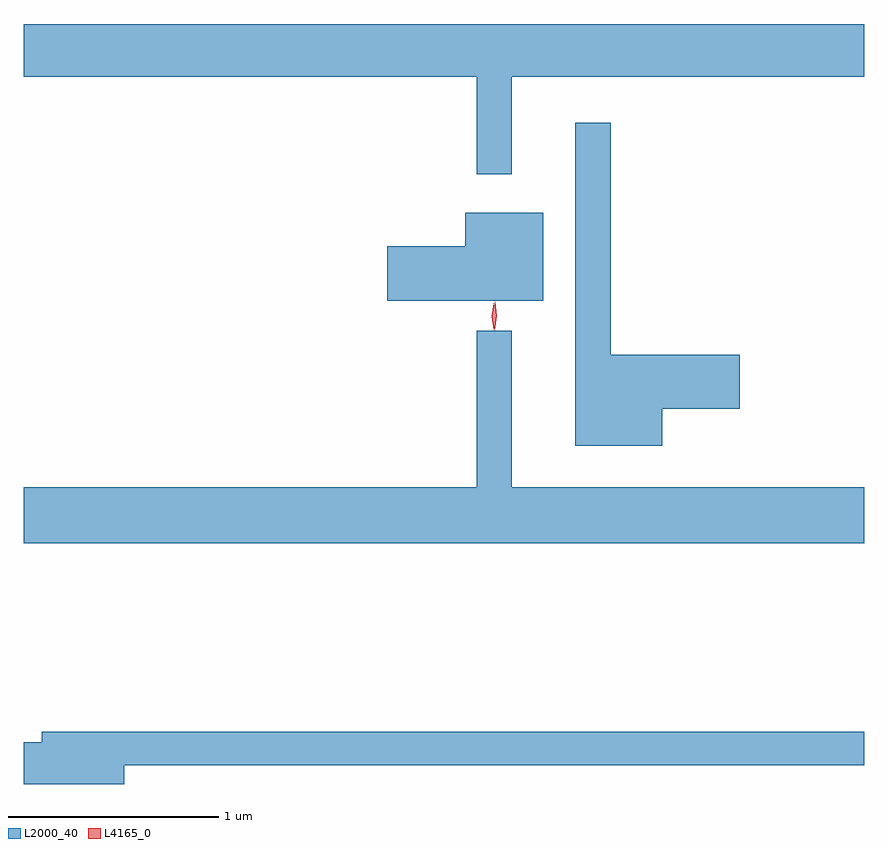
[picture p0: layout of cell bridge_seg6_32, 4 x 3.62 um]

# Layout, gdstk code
import gdstk
lib = gdstk.Library(unit=1e-6, precision=1e-09)
def P(c, l, *ps):  # polygons
    for p in ps: c.add(gdstk.Polygon(p, *l))
L2000_40 = (2000, 40)
L4165_0 = (4165, 0)

bridge_seg6_32 = lib.new_cell('bridge_seg6_32')
P(bridge_seg6_32, L2000_40, [(1706.619,1587.776),(1708.296,1587.776),(1708.296,1588.027),(1704.296,1588.027),(1704.296,1587.776),(1706.451,1587.776),(1706.451,1587.313),(1706.619,1587.313)],
  [(1707.334,1586.196),(1707.704,1586.196),(1707.704,1586.454),(1707.089,1586.454),(1707.089,1587.558),(1706.921,1587.558),(1706.921,1586.021),(1707.334,1586.021)],
  [(1706.769,1587.129),(1706.396,1587.129),(1706.396,1586.969),(1706.026,1586.969),(1706.026,1586.711),(1706.769,1586.711)],
  [(1708.296,1585.824),(1706.619,1585.824),(1706.619,1586.568),(1706.451,1586.568),(1706.451,1585.824),(1704.296,1585.824),(1704.296,1585.556),(1708.296,1585.556)],
  [(1704.774,1584.501),(1708.296,1584.501),(1708.296,1584.659),(1704.381,1584.659),(1704.381,1584.609),(1704.296,1584.609),(1704.296,1584.411),(1704.774,1584.411)])
P(bridge_seg6_32, L4165_0, [(1706.537,1586.57),(1706.528,1586.638),(1706.539,1586.705),(1706.539,1586.706),(1706.54,1586.705),(1706.548,1586.638),(1706.538,1586.57),(1706.538,1586.57)],
  [(1706.532,1586.573),(1706.532,1586.573),(1706.522,1586.636),(1706.532,1586.699),(1706.532,1586.7),(1706.533,1586.699),(1706.542,1586.636),(1706.533,1586.573)])

lib.write_gds('bridge_seg6_32.gds')
